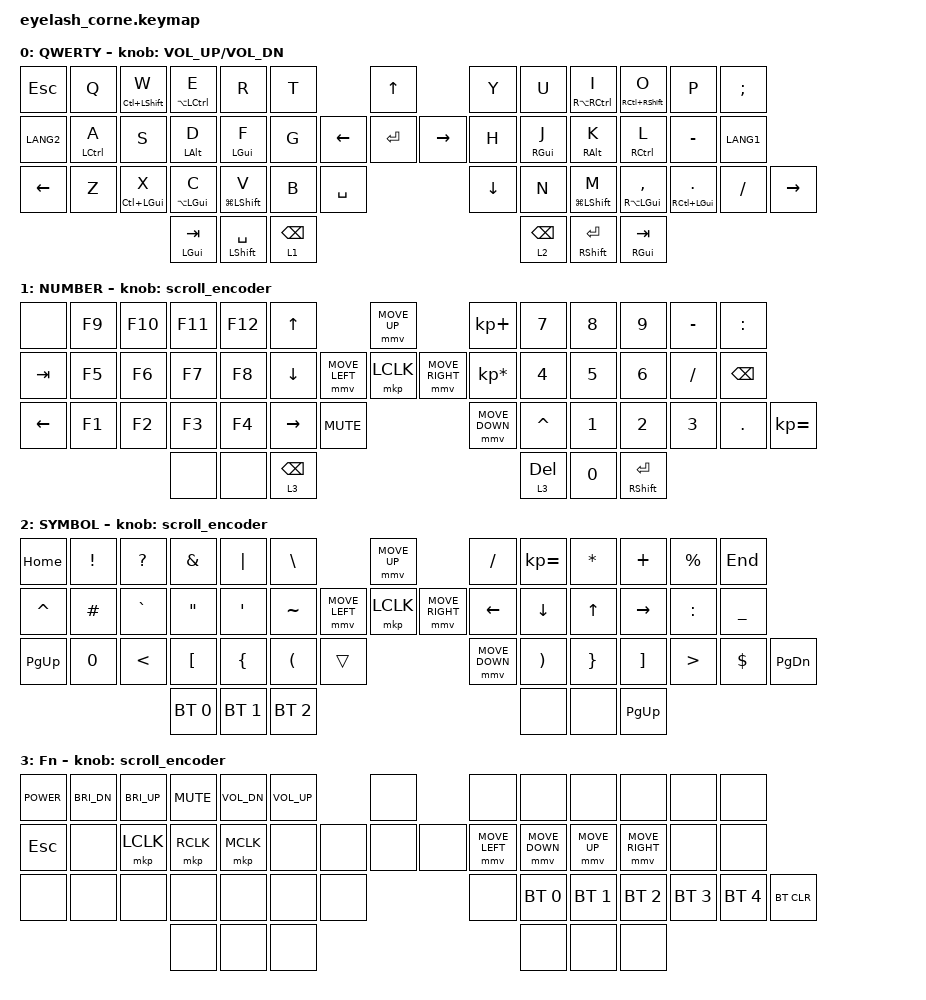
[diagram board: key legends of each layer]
#define ZMK_POINTING_DEFAULT_MOVE_VAL 1200
#define ZMK_POINTING_DEFAULT_SCRL_VAL 25

#include <input/processors.dtsi>
#include <zephyr/dt-bindings/input/input-event-codes.h>
#include <behaviors.dtsi>
#include <dt-bindings/zmk/bt.h>
#include <dt-bindings/zmk/keys.h>
#include <dt-bindings/zmk/outputs.h>
#include <dt-bindings/zmk/pointing.h>
#include <dt-bindings/zmk/rgb.h>

&mmv_input_listener { input-processors = <&zip_xy_scaler 2 1>; };

&msc_input_listener { input-processors = <&zip_scroll_scaler 2 1>; };

&msc {
    acceleration-exponent = <1>;
    time-to-max-speed-ms = <100>;
    delay-ms = <0>;
};

&mmv {
    time-to-max-speed-ms = <500>;
    acceleration-exponent = <1>;
    trigger-period-ms = <16>;
};

&soft_off { hold-time-ms = <2000>; };

&lt { quick-tap-ms = <175>; };
&mt { quick-tap-ms = <175>; };

/ {
    behaviors {
        hml: home_row_mod_left {
            compatible = "zmk,behavior-hold-tap";
            #binding-cells = <2>;
            flavor = "balanced";
            tapping-term-ms = <175>;
            quick-tap-ms = <175>;
            require-prior-idle-ms = <125>;
            bindings = <&kp>, <&kp>;
            hold-trigger-key-positions = <6 7 8 9 10 11 12 19 20 21 22 23 24 25 26 27 34 35 36 37 38 39 40 41 45 46 47>;
            hold-trigger-on-release;
        };

        hmr: home_row_mod_right {
            compatible = "zmk,behavior-hold-tap";
            #binding-cells = <2>;
            flavor = "balanced";
            tapping-term-ms = <175>;
            quick-tap-ms = <175>;
            require-prior-idle-ms = <125>;
            bindings = <&kp>, <&kp>;
            hold-trigger-key-positions = <0 1 2 3 4 5 6 13 14 15 16 17 18 19 20 21 28 29 30 31 32 33 34 35 42 43 44>;
            hold-trigger-on-release;
        };

        td0: td0 {
            compatible = "zmk,behavior-tap-dance";
            display-name = "Shift/Caps Lock Tap Dance";
            #binding-cells = <0>;
            bindings = <&kp LEFT_SHIFT>, <&kp CAPS>;
        };
    };

    scroll_encoder: scroll_encoder {
        compatible = "zmk,behavior-sensor-rotate";
        #sensor-binding-cells = <0>;
        bindings = <&msc SCRL_DOWN>, <&msc SCRL_UP>;
        tap-ms = <100>;
    };

    combos {
        compatible = "zmk,combos";

        softoff {
            bindings = <&soft_off>;
            key-positions = <1 15 29>;
        };
    };

    keymap {
        compatible = "zmk,keymap";

        default_layer {
            display-name = "QWERTY";
            bindings = <
            &kp ESC   &kp Q   &hml LC(LSHFT) W   &hml LA(LCTRL) E   &kp R   &kp T   &kp UP   &kp Y   &kp U   &hmr RA(RCTRL) I   &hmr RC(RSHFT) O   &kp P   &kp SEMI
            &kp LANG2   &hml LCTRL A   &kp S   &hml LALT D   &hml LGUI F   &kp G   &kp LEFT   &kp ENTER   &kp RIGHT   &kp H   &hmr RGUI J   &hmr RALT K   &hmr RCTRL L   &kp MINUS   &kp LANG1
&kp LEFT           &kp Z  &hml LC(LGUI) X       &hml LA(LGUI) C       &hml LG(LSHFT) V     &kp B         &kp SPACE            &kp DOWN              &kp N                 &hmr LG(LSHFT) M      &hmr RA(LGUI) COMMA    &hmr RC(LGUI) DOT      &kp FSLH    &kp RIGHT
                                  &mt LGUI TAB        &mt LSHIFT SPACE      &lt 1 BSPC                                                  &lt 2 BSPC         &mt RSHIFT RET        &mt RGUI TAB
            >;

            sensor-bindings = <&inc_dec_kp C_VOLUME_UP C_VOL_DN>;
        };

        lower_layer {
            display-name = "NUMBER";
            bindings = <
            &none   &kp F9   &kp F10   &kp F11   &kp F12   &kp UP   &mmv MOVE_UP   &kp KP_PLUS   &kp N7   &kp N8   &kp N9   &kp MINUS   &kp COLON
            &kp TAB   &kp F5   &kp F6   &kp F7   &kp F8   &kp DOWN   &mmv MOVE_LEFT   &mkp LCLK   &mmv MOVE_RIGHT   &kp KP_MULTIPLY   &kp N4   &kp N5   &kp N6   &kp FSLH   &kp BSPC
&kp LEFT   &kp F1      &kp F2   &kp F3   &kp F4   &kp RIGHT  &kp C_MUTE                          &mmv MOVE_DOWN                   &kp CARET           &kp N1                &kp N2               &kp N3               &kp DOT    &kp KP_EQUAL
            &none   &none   &lt 3 BSPC   &lt 3 DEL   &kp N0   &hmr RSHFT ENTER
            >;

            sensor-bindings = <&scroll_encoder>;
        };

        raise_layer {
            display-name = "SYMBOL";
            bindings = <
&kp HOME    &kp EXCL  &kp QMARK  &kp AMPS   &kp PIPE  &kp BSLH                              &mmv MOVE_UP                     &kp FSLH          &kp KP_EQUAL          &kp ASTRK             &kp PLUS             &kp PRCNT     &kp END
&kp CARET   &kp HASH  &kp GRAVE  &kp DQT    &kp SQT   &kp TILDE          &mmv MOVE_LEFT  &mkp LCLK       &mmv MOVE_RIGHT  &kp LEFT            &kp DOWN              &kp UP                &kp RIGHT            &kp COLON     &kp UNDER
&kp PG_UP   &kp N0    &kp LT     &kp LBKT   &kp LBRC  &kp LPAR    &trans                     &mmv MOVE_DOWN                   &kp RPAR           &kp RBRC              &kp RBKT              &kp GT                &kp DLLR             &kp PG_DN
                                     &bt BT_SEL 0  &bt BT_SEL 1  &bt BT_SEL 2                                                   &none               &none                 &kp PG_UP
            >;

            sensor-bindings = <&scroll_encoder>;
        };

        layer_3 {
            display-name = "Fn";
            bindings = <
&kp K_POWER  &kp C_BRI_DN  &kp C_BRI_UP  &kp C_MUTE    &kp C_VOL_DN  &kp C_VOL_UP                    &none                            &none            &none           &none         &none    &none   &none
&kp ESC      &none         &mkp LCLK     &mkp RCLK     &mkp MCLK     &none                  &none  &none           &none            &mmv MOVE_LEFT   &mmv MOVE_DOWN  &mmv MOVE_UP  &mmv MOVE_RIGHT  &none    &none
&none        &none         &none         &none         &none         &none     &none                              &none                            &bt BT_SEL 0     &bt BT_SEL 1    &bt BT_SEL 2  &bt BT_SEL 3  &bt BT_SEL 4  &bt BT_CLR
                                         &none         &none         &none                                                                         &none            &none           &none
            >;

            sensor-bindings = <&scroll_encoder>;
        };
    };
};
